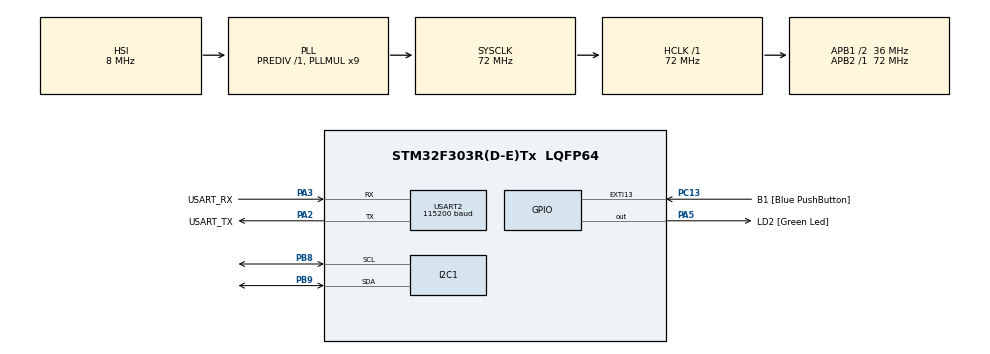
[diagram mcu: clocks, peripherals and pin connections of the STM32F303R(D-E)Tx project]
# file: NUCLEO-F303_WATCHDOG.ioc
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I2C1.Timing=0x00201D2B
IWDG.Prescaler=IWDG_PRESCALER_32
IWDG.Reload=1250
Mcu.Family=STM32F3
Mcu.Name=STM32F303R(D-E)Tx
Mcu.Package=LQFP64
NVIC.PriorityGroup=NVIC_PRIORITYGROUP_0
NVIC.TIM2_IRQn=true\:0\:0\:false\:false\:true\:true\:true\:true
PA13.GPIO_Label=TMS
PA13.Mode=Serial_Wire
PA13.Signal=SYS_JTMS-SWDIO
PA14.GPIO_Label=TCK
PA14.Mode=Serial_Wire
PA14.Signal=SYS_JTCK-SWCLK
PA2.GPIO_Label=USART_TX
PA2.GPIO_Mode=GPIO_MODE_AF_PP
PA2.GPIO_PuPd=GPIO_NOPULL
PA2.GPIO_Speed=GPIO_SPEED_FREQ_LOW
PA2.Mode=Asynchronous
PA2.Signal=USART2_TX
PA3.GPIO_Label=USART_RX
PA3.GPIO_Mode=GPIO_MODE_AF_PP
PA3.GPIO_PuPd=GPIO_NOPULL
PA3.GPIO_Speed=GPIO_SPEED_FREQ_LOW
PA3.Mode=Asynchronous
PA3.Signal=USART2_RX
PA5.GPIO_Label=LD2 [Green Led]
PA5.GPIO_Mode=GPIO_MODE_OUTPUT_PP
PA5.GPIO_PuPd=GPIO_NOPULL
PA5.GPIO_Speed=GPIO_SPEED_FREQ_LOW
PA5.Signal=GPIO_Output
PB3.GPIO_Label=SWO
PB3.Signal=SYS_JTDO-TRACESWO
PB8.Mode=I2C
PB8.Signal=I2C1_SCL
PB9.Mode=I2C
PB9.Signal=I2C1_SDA
PC13.GPIO_Label=B1 [Blue PushButton]
PC13.GPIO_ModeDefaultEXTI=GPIO_MODE_IT_FALLING
PC13.Signal=GPXTI13
PC14-OSC32_IN.Mode=LSE-External-Oscillator
PC14-OSC32_IN.Signal=RCC_OSC32_IN
PC15-OSC32_OUT.Mode=LSE-External-Oscillator
PC15-OSC32_OUT.Signal=RCC_OSC32_OUT
PF0-OSC_IN.Mode=HSE-External-Clock-Source
PF0-OSC_IN.Signal=RCC_OSC_IN
PF1-OSC_OUT.Signal=RCC_OSC_OUT
ProjectManager.HeapSize=0x200
ProjectManager.StackSize=0x400
ProjectManager.TargetToolchain=CMake
RCC.AHBFreq_Value=72000000
RCC.APB1CLKDivider=RCC_HCLK_DIV2
RCC.APB1Freq_Value=36000000
RCC.APB1TimFreq_Value=72000000
RCC.APB2Freq_Value=72000000
RCC.APB2TimFreq_Value=72000000
RCC.CortexFreq_Value=72000000
RCC.HCLKFreq_Value=72000000
RCC.HSE_VALUE=8000000
RCC.HSI_VALUE=8000000
RCC.PLLM=8
RCC.PLLMUL=RCC_PLL_MUL9
RCC.PLLN=336
RCC.PLLP=RCC_PLLP_DIV4
RCC.PLLQ=7
RCC.RCC_PLLsource_Clock_Source_FROM_HSE=RCC_HSE_PREDIV_DIV2
RCC.SYSCLKFreq_VALUE=72000000
RCC.SYSCLKSourceVirtual=RCC_SYSCLKSOURCE_PLLCLK
RCC.USBFreq_Value=72000000
TIM2.Period=100-1
TIM2.Prescaler=36000-1
USART2.BaudRate=115200
USART2.VirtualMode-Asynchronous=VM_ASYNC
VP_IWDG_VS_IWDG.Mode=IWDG_Activate
VP_TIM2_VS_ClockSourceINT.Mode=Internal
board=NUCLEO-F303RE

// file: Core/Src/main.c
/* USER CODE BEGIN Header */
/**
  ******************************************************************************
  * @file           : main.c
  * @brief          : Main program body
  ******************************************************************************
  * @attention
  *
  * Copyright (c) 2026 STMicroelectronics.
  * All rights reserved.
  *
  * This software is licensed under terms that can be found in the LICENSE file
  * in the root directory of this software component.
  * If no LICENSE file comes with this software, it is provided AS-IS.
  *
  ******************************************************************************
  */
/* USER CODE END Header */
#include "main.h"

/* USER CODE BEGIN Includes */
#include "console_uart.h"
#include "opt3001_app.h"
#include "stm32f3xx_hal_tim.h"
#include "tmp117_app.h"
#include "watchdog_app.h"
/* USER CODE END Includes */

I2C_HandleTypeDef hi2c1;

IWDG_HandleTypeDef hiwdg;

TIM_HandleTypeDef htim2;

UART_HandleTypeDef huart2;

/* USER CODE BEGIN PV */
volatile uint8_t opt3001CounterTick = 0;
volatile uint8_t tmp117CounterTick = 0;
/* USER CODE END PV */

void SystemClock_Config(void);
static void MX_GPIO_Init(void);
static void MX_I2C1_Init(void);
static void MX_IWDG_Init(void);
static void MX_USART2_UART_Init(void);
static void MX_TIM2_Init(void);

int main(void)
{

  /* MCU Configuration--------------------------------------------------------*/

  /* Reset of all peripherals, Initializes the Flash interface and the Systick. */
  HAL_Init();

  /* Configure the system clock */
  SystemClock_Config();

  /* Initialize all configured peripherals */
  MX_GPIO_Init();
  MX_I2C1_Init();
  MX_IWDG_Init();
  MX_USART2_UART_Init();
  MX_TIM2_Init();
  /* USER CODE BEGIN 2 */
  Console_Init(&huart2);
  Watchdog_Check_Reset_Reason();
  Watchdog_Init(&hiwdg);
  OPT3001_App_Init(&hi2c1, &opt3001CounterTick);
  TMP117_App_Init(&hi2c1, &tmp117CounterTick);
  HAL_TIM_Base_Start_IT(&htim2);

  /* USER CODE END 2 */

  /* Infinite loop */
  /* USER CODE BEGIN WHILE */
  while (1)
  {
    OPT3001_App_Task();
    TMP117_App_Task();
    Watchdog_Monitor_And_Feed();
    /* USER CODE END WHILE */

  }
}

void SystemClock_Config(void)
{
  RCC_OscInitTypeDef RCC_OscInitStruct = {0};
  RCC_ClkInitTypeDef RCC_ClkInitStruct = {0};
  RCC_PeriphCLKInitTypeDef PeriphClkInit = {0};

  /** Initializes the RCC Oscillators according to the specified parameters
  * in the RCC_OscInitTypeDef structure.
  */
  RCC_OscInitStruct.OscillatorType = RCC_OSCILLATORTYPE_HSI|RCC_OSCILLATORTYPE_LSI;
  RCC_OscInitStruct.HSIState = RCC_HSI_ON;
  RCC_OscInitStruct.HSICalibrationValue = RCC_HSICALIBRATION_DEFAULT;
  RCC_OscInitStruct.LSIState = RCC_LSI_ON;
  RCC_OscInitStruct.PLL.PLLState = RCC_PLL_ON;
  RCC_OscInitStruct.PLL.PLLSource = RCC_PLLSOURCE_HSI;
  RCC_OscInitStruct.PLL.PLLMUL = RCC_PLL_MUL9;
  RCC_OscInitStruct.PLL.PREDIV = RCC_PREDIV_DIV1;
  if (HAL_RCC_OscConfig(&RCC_OscInitStruct) != HAL_OK)
  {
    Error_Handler();
  }

  /** Initializes the CPU, AHB and APB buses clocks
  */
  RCC_ClkInitStruct.ClockType = RCC_CLOCKTYPE_HCLK|RCC_CLOCKTYPE_SYSCLK
                              |RCC_CLOCKTYPE_PCLK1|RCC_CLOCKTYPE_PCLK2;
  RCC_ClkInitStruct.SYSCLKSource = RCC_SYSCLKSOURCE_PLLCLK;
  RCC_ClkInitStruct.AHBCLKDivider = RCC_SYSCLK_DIV1;
  RCC_ClkInitStruct.APB1CLKDivider = RCC_HCLK_DIV2;
  RCC_ClkInitStruct.APB2CLKDivider = RCC_HCLK_DIV1;

  if (HAL_RCC_ClockConfig(&RCC_ClkInitStruct, FLASH_LATENCY_2) != HAL_OK)
  {
    Error_Handler();
  }
  PeriphClkInit.PeriphClockSelection = RCC_PERIPHCLK_USART2|RCC_PERIPHCLK_I2C1
                              |RCC_PERIPHCLK_TIM2;
  PeriphClkInit.Usart2ClockSelection = RCC_USART2CLKSOURCE_PCLK1;
  PeriphClkInit.I2c1ClockSelection = RCC_I2C1CLKSOURCE_HSI;
  PeriphClkInit.Tim2ClockSelection = RCC_TIM2CLK_HCLK;
  if (HAL_RCCEx_PeriphCLKConfig(&PeriphClkInit) != HAL_OK)
  {
    Error_Handler();
  }
}

static void MX_I2C1_Init(void)
{

  hi2c1.Instance = I2C1;
  hi2c1.Init.Timing = 0x00201D2B;
  hi2c1.Init.OwnAddress1 = 0;
  hi2c1.Init.AddressingMode = I2C_ADDRESSINGMODE_7BIT;
  hi2c1.Init.DualAddressMode = I2C_DUALADDRESS_DISABLE;
  hi2c1.Init.OwnAddress2 = 0;
  hi2c1.Init.OwnAddress2Masks = I2C_OA2_NOMASK;
  hi2c1.Init.GeneralCallMode = I2C_GENERALCALL_DISABLE;
  hi2c1.Init.NoStretchMode = I2C_NOSTRETCH_DISABLE;
  if (HAL_I2C_Init(&hi2c1) != HAL_OK)
  {
    Error_Handler();
  }

  /** Configure Analogue filter
  */
  if (HAL_I2CEx_ConfigAnalogFilter(&hi2c1, I2C_ANALOGFILTER_ENABLE) != HAL_OK)
  {
    Error_Handler();
  }

  /** Configure Digital filter
  */
  if (HAL_I2CEx_ConfigDigitalFilter(&hi2c1, 0) != HAL_OK)
  {
    Error_Handler();
  }

}

static void MX_IWDG_Init(void)
{

  hiwdg.Instance = IWDG;
  hiwdg.Init.Prescaler = IWDG_PRESCALER_32;
  hiwdg.Init.Window = 4095;
  hiwdg.Init.Reload = 1250;
  if (HAL_IWDG_Init(&hiwdg) != HAL_OK)
  {
    Error_Handler();
  }

}

static void MX_TIM2_Init(void)
{

  TIM_ClockConfigTypeDef sClockSourceConfig = {0};
  TIM_MasterConfigTypeDef sMasterConfig = {0};

  htim2.Instance = TIM2;
  htim2.Init.Prescaler = 36000-1;
  htim2.Init.CounterMode = TIM_COUNTERMODE_UP;
  htim2.Init.Period = 100-1;
  htim2.Init.ClockDivision = TIM_CLOCKDIVISION_DIV1;
  htim2.Init.AutoReloadPreload = TIM_AUTORELOAD_PRELOAD_DISABLE;
  if (HAL_TIM_Base_Init(&htim2) != HAL_OK)
  {
    Error_Handler();
  }
  sClockSourceConfig.ClockSource = TIM_CLOCKSOURCE_INTERNAL;
  if (HAL_TIM_ConfigClockSource(&htim2, &sClockSourceConfig) != HAL_OK)
  {
    Error_Handler();
  }
  sMasterConfig.MasterOutputTrigger = TIM_TRGO_RESET;
  sMasterConfig.MasterSlaveMode = TIM_MASTERSLAVEMODE_DISABLE;
  if (HAL_TIMEx_MasterConfigSynchronization(&htim2, &sMasterConfig) != HAL_OK)
  {
    Error_Handler();
  }

}

static void MX_USART2_UART_Init(void)
{

  huart2.Instance = USART2;
  huart2.Init.BaudRate = 115200;
  huart2.Init.WordLength = UART_WORDLENGTH_8B;
  huart2.Init.StopBits = UART_STOPBITS_1;
  huart2.Init.Parity = UART_PARITY_NONE;
  huart2.Init.Mode = UART_MODE_TX_RX;
  huart2.Init.HwFlowCtl = UART_HWCONTROL_NONE;
  huart2.Init.OverSampling = UART_OVERSAMPLING_16;
  huart2.Init.OneBitSampling = UART_ONE_BIT_SAMPLE_DISABLE;
  huart2.AdvancedInit.AdvFeatureInit = UART_ADVFEATURE_NO_INIT;
  if (HAL_UART_Init(&huart2) != HAL_OK)
  {
    Error_Handler();
  }

}

static void MX_GPIO_Init(void)
{
  GPIO_InitTypeDef GPIO_InitStruct = {0};

  /* GPIO Ports Clock Enable */
  __HAL_RCC_GPIOC_CLK_ENABLE();
  __HAL_RCC_GPIOF_CLK_ENABLE();
  __HAL_RCC_GPIOA_CLK_ENABLE();
  __HAL_RCC_GPIOB_CLK_ENABLE();

  /*Configure GPIO pin Output Level */
  HAL_GPIO_WritePin(LD2_GPIO_Port, LD2_Pin, GPIO_PIN_RESET);

  /*Configure GPIO pin : B1_Pin */
  GPIO_InitStruct.Pin = B1_Pin;
  GPIO_InitStruct.Mode = GPIO_MODE_IT_FALLING;
  GPIO_InitStruct.Pull = GPIO_NOPULL;
  HAL_GPIO_Init(B1_GPIO_Port, &GPIO_InitStruct);

  /*Configure GPIO pin : LD2_Pin */
  GPIO_InitStruct.Pin = LD2_Pin;
  GPIO_InitStruct.Mode = GPIO_MODE_OUTPUT_PP;
  GPIO_InitStruct.Pull = GPIO_NOPULL;
  GPIO_InitStruct.Speed = GPIO_SPEED_FREQ_LOW;
  HAL_GPIO_Init(LD2_GPIO_Port, &GPIO_InitStruct);

}

/* USER CODE BEGIN 4 */
void HAL_TIM_PeriodElapsedCallback(TIM_HandleTypeDef *htim)
{
    if (htim->Instance == TIM2)
    {
        opt3001CounterTick++;
        tmp117CounterTick++;
    }
}
/* USER CODE END 4 */

void Error_Handler(void)
{
  __disable_irq();
  while (1)
  {
  }
}
